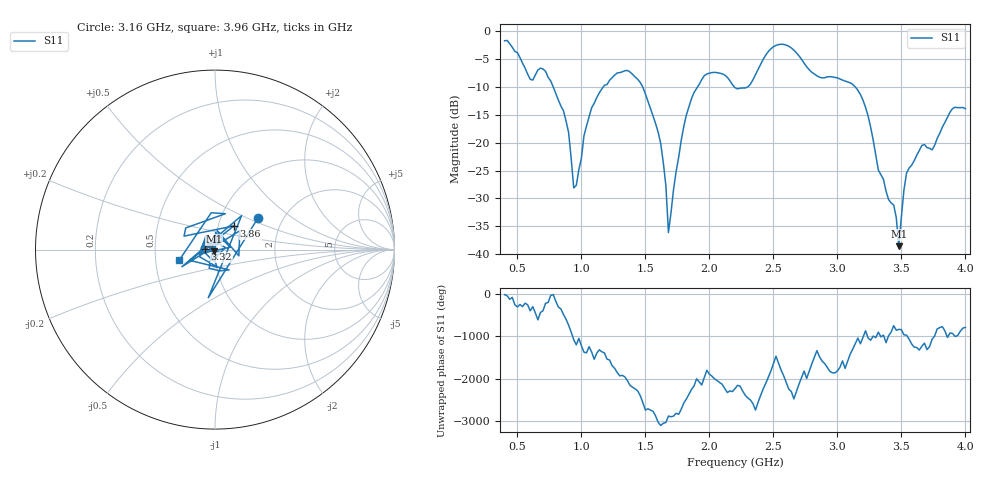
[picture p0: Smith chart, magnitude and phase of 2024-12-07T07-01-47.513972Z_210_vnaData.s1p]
!Created with skrf (http://scikit-rf.org).
# Hz S RI R 50.0
!freq ReS11 ImS11
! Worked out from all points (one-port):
!   181 points, 400 MHz to 4 GHz, reference 50 ohm
!   lowest |S11| = -38.6 dB at 3.48 GHz (marker M1), VSWR 1.02, Z = 49.4 - j1.02 ohm
!   |S11| at or under -10 dB: 780 MHz to 1.17 GHz (390.4 MHz wide, 40 % of centre); 1.479 GHz to 1.907 GHz (428.3 MHz wide, 25.3 % of centre); 3.14 GHz to end of sweep (the widest 3 of 4)
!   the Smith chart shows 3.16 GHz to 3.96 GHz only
!   S11 on the Smith chart (normalised r, x): 3.16 GHz: 1.50, +0.57; 3.32 GHz: 0.89, +0.01; 3.86 GHz: 1.19, +0.32; 3.96 GHz: 0.67, -0.08
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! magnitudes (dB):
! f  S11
! 400 MHz  -1.7
! 600 MHz  -8.6
! 720 MHz  -7.2
! 860 MHz  -14.3
! 900 MHz  -18.2
! 940 MHz  -28.1
! 1.08 GHz  -13.7
! 1.3 GHz  -7.4
! 1.46 GHz  -9.2
! 1.58 GHz  -16.6
! 1.64 GHz  -23.6
! 1.68 GHz  -36.1
! 1.76 GHz  -22.6
! 1.84 GHz  -13.6
! 1.96 GHz  -8.0
! 2.2 GHz  -10.1
! 2.5 GHz  -2.8
! 2.66 GHz  -3.4
! 3.1 GHz  -9.3
! 3.16 GHz  -10.6
! 3.32 GHz  -24.9
! 3.44 GHz  -31.2
! 3.48 GHz  -38.6
! 3.52 GHz  -28.5
! 3.56 GHz  -24.5
! 3.86 GHz  -15.4
! 3.96 GHz  -13.7
! 4 GHz  -13.9
